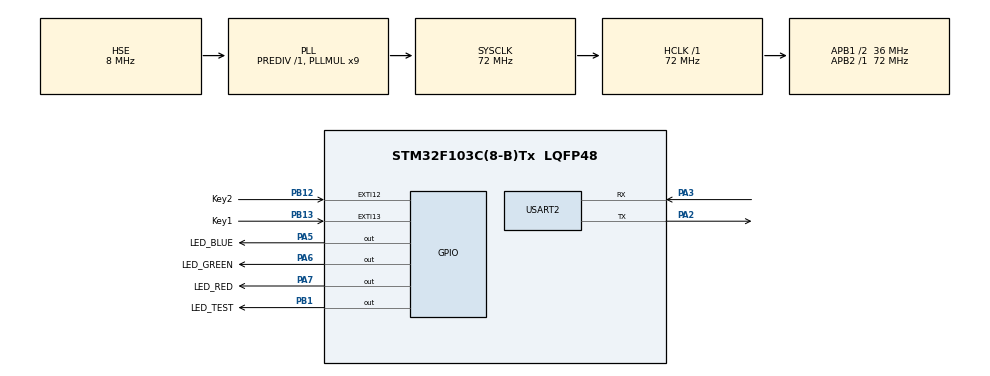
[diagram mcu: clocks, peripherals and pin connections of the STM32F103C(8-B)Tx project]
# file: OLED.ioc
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Dma.Request0=USART2_RX
Dma.Request1=USART2_TX
Dma.USART2_RX.0.Direction=DMA_PERIPH_TO_MEMORY
Dma.USART2_RX.0.Instance=DMA1_Channel6
Dma.USART2_RX.0.MemDataAlignment=DMA_MDATAALIGN_BYTE
Dma.USART2_RX.0.MemInc=DMA_MINC_ENABLE
Dma.USART2_RX.0.Mode=DMA_NORMAL
Dma.USART2_RX.0.PeriphDataAlignment=DMA_PDATAALIGN_BYTE
Dma.USART2_RX.0.PeriphInc=DMA_PINC_DISABLE
Dma.USART2_RX.0.Priority=DMA_PRIORITY_LOW
Dma.USART2_TX.1.Direction=DMA_MEMORY_TO_PERIPH
Dma.USART2_TX.1.Instance=DMA1_Channel7
Dma.USART2_TX.1.MemDataAlignment=DMA_MDATAALIGN_BYTE
Dma.USART2_TX.1.MemInc=DMA_MINC_ENABLE
Dma.USART2_TX.1.Mode=DMA_NORMAL
Dma.USART2_TX.1.PeriphDataAlignment=DMA_PDATAALIGN_BYTE
Dma.USART2_TX.1.PeriphInc=DMA_PINC_DISABLE
Dma.USART2_TX.1.Priority=DMA_PRIORITY_LOW
Mcu.Family=STM32F1
Mcu.Name=STM32F103C(8-B)Tx
Mcu.Package=LQFP48
NVIC.DMA1_Channel6_IRQn=true\:0\:0\:false\:false\:true\:false\:true\:true
NVIC.DMA1_Channel7_IRQn=true\:0\:0\:false\:false\:true\:false\:true\:true
NVIC.EXTI15_10_IRQn=true\:0\:0\:false\:false\:true\:true\:true\:true
NVIC.PriorityGroup=NVIC_PRIORITYGROUP_4
NVIC.USART2_IRQn=true\:0\:0\:false\:false\:true\:true\:true\:true
PA13.Mode=Serial_Wire
PA13.Signal=SYS_JTMS-SWDIO
PA14.Mode=Serial_Wire
PA14.Signal=SYS_JTCK-SWCLK
PA2.Mode=Asynchronous
PA2.Signal=USART2_TX
PA3.Mode=Asynchronous
PA3.Signal=USART2_RX
PA5.GPIO_Label=LED_BLUE
PA5.Signal=GPIO_Output
PA6.GPIO_Label=LED_GREEN
PA6.Signal=GPIO_Output
PA7.GPIO_Label=LED_RED
PA7.Signal=GPIO_Output
PB1.GPIO_Label=LED_TEST
PB1.Signal=GPIO_Output
PB12.GPIO_Label=Key2
PB12.GPIO_ModeDefaultEXTI=GPIO_MODE_IT_FALLING
PB12.GPIO_PuPd=GPIO_PULLUP
PB12.Signal=GPXTI12
PB13.GPIO_Label=Key1
PB13.GPIO_ModeDefaultEXTI=GPIO_MODE_IT_FALLING
PB13.GPIO_PuPd=GPIO_PULLUP
PB13.Signal=GPXTI13
PD0-OSC_IN.Mode=HSE-External-Oscillator
PD0-OSC_IN.Signal=RCC_OSC_IN
PD1-OSC_OUT.Mode=HSE-External-Oscillator
PD1-OSC_OUT.Signal=RCC_OSC_OUT
ProjectManager.HeapSize=0x200
ProjectManager.StackSize=0x400
ProjectManager.TargetToolchain=STM32CubeIDE
RCC.AHBFreq_Value=72000000
RCC.APB1CLKDivider=RCC_HCLK_DIV2
RCC.APB1Freq_Value=36000000
RCC.APB1TimFreq_Value=72000000
RCC.APB2Freq_Value=72000000
RCC.APB2TimFreq_Value=72000000
RCC.HCLKFreq_Value=72000000
RCC.PLLMUL=RCC_PLL_MUL9
RCC.PLLSourceVirtual=RCC_PLLSOURCE_HSE
RCC.SYSCLKFreq_VALUE=72000000
RCC.SYSCLKSource=RCC_SYSCLKSOURCE_PLLCLK
RCC.USBFreq_Value=72000000
USART2.VirtualMode=VM_ASYNC
board=custom

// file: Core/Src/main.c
/* USER CODE BEGIN Header */
/**
  ******************************************************************************
  * @file           : main.c
  * @brief          : Main program body
  ******************************************************************************
  * @attention
  *
  * Copyright (c) 2026 STMicroelectronics.
  * All rights reserved.
  *
  * This software is licensed under terms that can be found in the LICENSE file
  * in the root directory of this software component.
  * If no LICENSE file comes with this software, it is provided AS-IS.
  *
  ******************************************************************************
  */
/* USER CODE END Header */
#include "main.h"
#include "dma.h"
#include "usart.h"
#include "gpio.h"

/* USER CODE BEGIN Includes */
#include <stdio.h>
#include <string.h>

#include "OLED.h"
/* USER CODE END Includes */

/* USER CODE BEGIN PV */
uint8_t run_state = 1;
uint8_t dir_state = 0;
uint16_t step_ms  = 300;
uint8_t current_led = 1;
volatile uint8_t key1_event = 0;
volatile uint8_t key2_event = 0;

typedef struct __attribute__((__packed__))
{
  uint8_t header;
  uint8_t run_flag;
  uint8_t dir_flag;
  uint8_t step_l;
  uint8_t step_h;
  uint8_t checksum;
}UartPacket;
UartPacket rx_packet;
volatile uint8_t packet_ready = 0;

static  char tx_buffer[100];

/* USER CODE END PV */

void SystemClock_Config(void);

/* USER CODE BEGIN 0 */
void HAL_UARTEx_RxEventCallback(UART_HandleTypeDef *huart,uint16_t Size)
{
  if (huart->Instance == USART2)
  {
    if (Size == 6)
    {
      packet_ready = 1;
    }
    HAL_UARTEx_ReceiveToIdle_DMA(&huart2,(uint8_t*)&rx_packet,6);//使得有多次用串口输入控制流水灯的机会
    __HAL_UART_DISABLE_IT(&huart2,UART_IT_RXNE);//关闭过半传输完成中断
  }
}

void HAL_GPIO_EXTI_Callback(uint16_t GPIO_Pin)
{
  if (GPIO_Pin == Key1_Pin)
  {
    key1_event = 1;

  }

  if (GPIO_Pin == Key2_Pin)
  {
    key2_event = 1;
  }
}

static void LEDs_ALLoff(void)
{
  HAL_GPIO_WritePin(LED_RED_GPIO_Port, LED_RED_Pin, GPIO_PIN_RESET);
  HAL_GPIO_WritePin(LED_GREEN_GPIO_Port, LED_GREEN_Pin, GPIO_PIN_RESET);
  HAL_GPIO_WritePin(LED_BLUE_GPIO_Port, LED_BLUE_Pin, GPIO_PIN_RESET);
}

static void LED_On(uint8_t led)
{
  switch (led)
  {
  case 1 : HAL_GPIO_WritePin(LED_RED_GPIO_Port, LED_RED_Pin, GPIO_PIN_SET); break;
  case 2 : HAL_GPIO_WritePin(LED_GREEN_GPIO_Port, LED_GREEN_Pin, GPIO_PIN_SET); break;
  case 3 : HAL_GPIO_WritePin(LED_BLUE_GPIO_Port, LED_BLUE_Pin, GPIO_PIN_SET); break;
    default : break;
  }
}
static void UI_Refresh(void)
{
  char line_buf[24];

  sprintf(line_buf,"STATE: %s   ",run_state ? "RUN" : "PAUSE");
  OLED_ShowString(1,1,line_buf);
  sprintf(line_buf,"DIR: %s   ",dir_state ? "REV" : "FWD");
  OLED_ShowString(2,1,line_buf);
  sprintf(line_buf,"STEP: %dms   ",step_ms);
  OLED_ShowString(3,1,line_buf);
  sprintf(line_buf,"LED: %d   ",current_led);
  OLED_ShowString(4,1,line_buf);

  sprintf(tx_buffer,"STATE=%s,DIR=%s,STEP=%d,LED=%d\r\n",
  run_state ? "RUN" : "PAUSE",
  dir_state ? "REV" : "FWD",
  step_ms,current_led);
  HAL_UART_Transmit_IT(&huart2,(uint8_t*)tx_buffer,strlen(tx_buffer));

}
/* USER CODE END 0 */

int main(void)
{

  /* MCU Configuration--------------------------------------------------------*/

  /* Reset of all peripherals, Initializes the Flash interface and the Systick. */
  HAL_Init();

  /* Configure the system clock */
  SystemClock_Config();

  /* Initialize all configured peripherals */
  MX_GPIO_Init();
  MX_DMA_Init();
  MX_USART2_UART_Init();
  /* USER CODE BEGIN 2 */
OLED_Init();
OLED_Clear();

  HAL_UARTEx_ReceiveToIdle_DMA(&huart2,(uint8_t*)&rx_packet,6);
  __HAL_UART_DISABLE_IT(&huart2,UART_IT_RXNE);

  LEDs_ALLoff();
  UI_Refresh();
  /* USER CODE END 2 */

  /* Infinite loop */
  /* USER CODE BEGIN WHILE */
  while (1)
  {
    uint8_t status_changed = 0;
    if (packet_ready)
    {
      packet_ready = 0;//当一个包传好之后，立马将标志清除
      uint8_t *bytes = (uint8_t*)&rx_packet;
      uint8_t check = (uint8_t)(bytes[0]+bytes[1]+bytes[2]+bytes[3]+bytes[4]);

      if (rx_packet.header == 0xAA && rx_packet.checksum == check)
      {
        run_state =rx_packet.run_flag;
        dir_state = rx_packet.dir_flag;//校验帧头和校验和之后就准备执行代码程序，所以这里需要先更新一下方向和始终
       uint16_t step_ms = (rx_packet.step_h << 8) | rx_packet.step_l;
        if (step_ms < 100)step_ms= 100;
        if (step_ms > 2000)step_ms = 2000;
        status_changed = 1;//设定一个标志位，使得OLED屏幕更新。前面已经有两个变量分别控制小灯的开关和方向了

      }
    }

    if (key1_event)
    {
      key1_event = 0;

      if (HAL_GPIO_ReadPin(Key1_GPIO_Port,Key1_Pin) == GPIO_PIN_SET)
      {
        HAL_Delay(10);
        if (HAL_GPIO_ReadPin(Key1_GPIO_Port,Key1_Pin) == GPIO_PIN_SET)
        {
          run_state = ! run_state;
          status_changed = 1;

        }
      }
    }
    if (key2_event)
    {
      key2_event = 0;
      if (HAL_GPIO_ReadPin(Key2_GPIO_Port,Key2_Pin) == GPIO_PIN_SET)
      {
        HAL_Delay(10);
        if (HAL_GPIO_ReadPin(Key2_GPIO_Port,Key2_Pin) == GPIO_PIN_SET)
        {
          dir_state = !dir_state;
          status_changed = 1;

        }
      }
    }
    if (status_changed)
    {
      UI_Refresh();
    }

    if (run_state == 1)
    {
        if (dir_state == 0)
        {
          current_led = (current_led >=3) ? 1 : current_led + 1;
        }else if (dir_state == 1)
        {
          current_led = (current_led <=1) ? 3 : current_led - 1;
        }
      LEDs_ALLoff();
      LED_On(current_led);
      HAL_Delay(step_ms);
        {
          char line_buf[24];
          sprintf(line_buf,"LED: %d    ",current_led);
          OLED_ShowString(4,1,line_buf);
        }

      }
    else if (run_state == 0)
    {

      HAL_Delay(10);
    }

    }

    }
    /* USER CODE END WHILE */

void SystemClock_Config(void)
{
  RCC_OscInitTypeDef RCC_OscInitStruct = {0};
  RCC_ClkInitTypeDef RCC_ClkInitStruct = {0};

  /** Initializes the RCC Oscillators according to the specified parameters
  * in the RCC_OscInitTypeDef structure.
  */
  RCC_OscInitStruct.OscillatorType = RCC_OSCILLATORTYPE_HSE;
  RCC_OscInitStruct.HSEState = RCC_HSE_ON;
  RCC_OscInitStruct.HSEPredivValue = RCC_HSE_PREDIV_DIV1;
  RCC_OscInitStruct.HSIState = RCC_HSI_ON;
  RCC_OscInitStruct.PLL.PLLState = RCC_PLL_ON;
  RCC_OscInitStruct.PLL.PLLSource = RCC_PLLSOURCE_HSE;
  RCC_OscInitStruct.PLL.PLLMUL = RCC_PLL_MUL9;
  if (HAL_RCC_OscConfig(&RCC_OscInitStruct) != HAL_OK)
  {
    Error_Handler();
  }

  /** Initializes the CPU, AHB and APB buses clocks
  */
  RCC_ClkInitStruct.ClockType = RCC_CLOCKTYPE_HCLK|RCC_CLOCKTYPE_SYSCLK
                              |RCC_CLOCKTYPE_PCLK1|RCC_CLOCKTYPE_PCLK2;
  RCC_ClkInitStruct.SYSCLKSource = RCC_SYSCLKSOURCE_PLLCLK;
  RCC_ClkInitStruct.AHBCLKDivider = RCC_SYSCLK_DIV1;
  RCC_ClkInitStruct.APB1CLKDivider = RCC_HCLK_DIV2;
  RCC_ClkInitStruct.APB2CLKDivider = RCC_HCLK_DIV1;

  if (HAL_RCC_ClockConfig(&RCC_ClkInitStruct, FLASH_LATENCY_2) != HAL_OK)
  {
    Error_Handler();
  }
}

void Error_Handler(void)
{
  __disable_irq();
  while (1)
  {
  }
}
